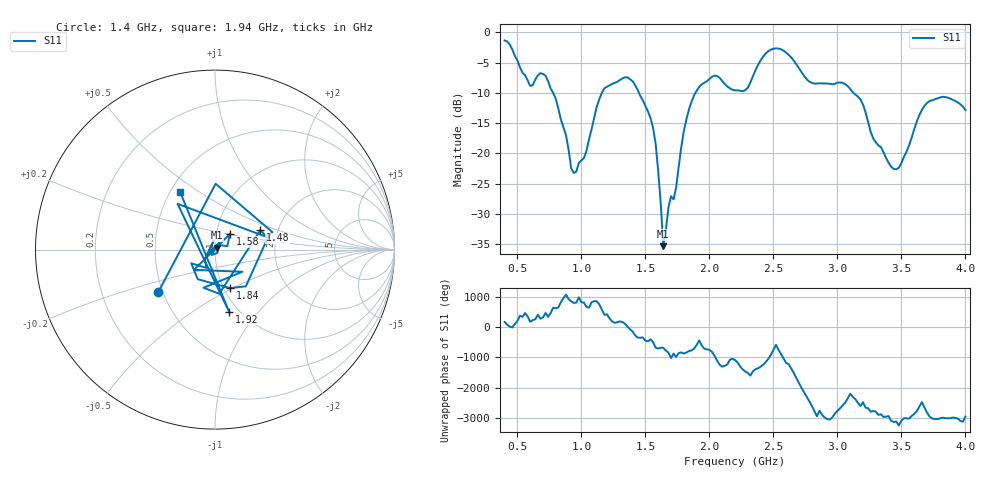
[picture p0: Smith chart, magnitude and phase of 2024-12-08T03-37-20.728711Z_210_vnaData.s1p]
!Created with skrf (http://scikit-rf.org).
# Hz S RI R 50.0
!freq ReS11 ImS11
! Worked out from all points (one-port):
!   181 points, 400 MHz to 4 GHz, reference 50 ohm
!   lowest |S11| = -35.3 dB at 1.64 GHz (marker M1), VSWR 1.03, Z = 51.3 + j1.13 ohm
!   |S11| at or under -10 dB: 779.9 MHz to 1.159 GHz (379.5 MHz wide, 39.1 % of centre); 1.45 GHz to 1.89 GHz (440.2 MHz wide, 26.4 % of centre); 3.126 GHz to end of sweep
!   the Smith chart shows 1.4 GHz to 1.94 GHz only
!   S11 on the Smith chart (normalised r, x): 1.4 GHz: 0.47, -0.27; 1.48 GHz: 1.62, +0.38; 1.58 GHz: 1.16, +0.21; 1.84 GHz: 1.07, -0.49; 1.92 GHz: 0.90, -0.71; 1.94 GHz: 0.56, +0.42
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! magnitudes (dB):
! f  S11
! 400 MHz  -1.3
! 600 MHz  -8.8
! 720 MHz  -7.1
! 860 MHz  -15.7
! 920 MHz  -22.4
! 960 MHz  -23.0
! 1.16 GHz  -10.0
! 1.3 GHz  -7.9
! 1.4 GHz  -8.1
! 1.48 GHz  -11.2
! 1.58 GHz  -18.4
! 1.64 GHz  -35.3
! 1.68 GHz  -28.9
! 1.72 GHz  -27.6
! 1.76 GHz  -22.2
! 1.84 GHz  -12.7
! 1.92 GHz  -9.0
! 1.94 GHz  -8.6
! 2.2 GHz  -9.6
! 2.3 GHz  -9.1
! 2.48 GHz  -2.8
! 2.66 GHz  -4.7
! 2.8 GHz  -8.3
! 3.1 GHz  -9.3
! 3.42 GHz  -22.2
! 3.56 GHz  -18.6
! 3.72 GHz  -11.3
! 4 GHz  -12.8
